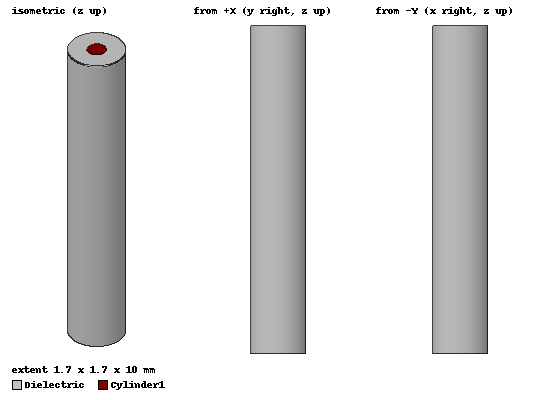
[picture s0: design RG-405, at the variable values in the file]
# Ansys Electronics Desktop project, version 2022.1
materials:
  vacuum: permittivity=1
  pec: conductivity=1e+30
  steel_stainless: conductivity=1100000
  glass_PTFEreinf: permittivity=2.5 dielectric_loss_tangent=0.002
  SmCo24: permittivity=1 permeability=1.0631382 conductivity=1111111 magnetic_coercivity{Magnitude=-756000A_per_meter DirComp1=1 DirComp2=0 DirComp3=0} lande_g_factor=2
  air: permittivity=1.0006 permeability=1.0000004
  copper: permeability=0.999991 conductivity=58000000
  aluminum: permeability=1.000021 conductivity=38000000

design RG-405 (HFSS, DrivenModal, model units mm)
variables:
  length = 10mm
  inner_d = 0.56mm
  dielectric_d = 1.7mm
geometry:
  Cylinder1 [pec] = cylinder(axis=Z, base_centre=(0mm, 0mm, 0mm), radius=inner_d/2, height=length)
  Dielectric [glass_PTFEreinf] = cylinder(axis=Z, base_centre=(0mm, 0mm, 0mm), radius=dielectric_d/2, height=length)
  Cylinder1_1 = Cylinder1.copy()
  Dielectric.subtract(Cylinder1_1)
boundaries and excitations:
  1: Wave Port Faces=Dielectric.face(3 of 3) NumModes=3 Modes{Mode1{CharImp=Zpi} Mode2{CharImp=Zpi} Mode3{CharImp=Zpi}}
  2: Wave Port Faces=Dielectric.face(2 of 3) NumModes=3 Modes{Mode1{CharImp=Zpi} Mode2{CharImp=Zpi} Mode3{CharImp=Zpi}}
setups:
  Setup1: HfssDriven Frequency=40GHz MaxDeltaS=0.005 MaximumPasses=20 MinimumPasses=1 MinimumConvergedPasses=1 PercentRefinement=30 BasisOrder=1 PortAccuracy=2 DrivenSolverType="Direct Solver"
    sweep Sweep: 0.2GHz to 80GHz, 400 points; Type=Interpolating SaveFields InterpTolerance=0.5 InterpMaxSolns=250 InterpUsePortImped=false PassivityErrorTolerance=0.0001
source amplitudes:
  1:1: 1W 0deg
  1:2, 1:3, 2:1, 2:2, 2:3: 0W 0deg
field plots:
  Vector_E1: E Field on Setup1 : LastAdaptive at Freq=40GHz Phase=0deg
  Mag_Jsurf1: Jsurf over Cylinder1.face(1 of 3) on Setup1 : LastAdaptive at Freq=40GHz Phase=0deg
  Mag_Jsurf2: Jsurf over Dielectric.face(1 of 3) on Setup1 : LastAdaptive at Freq=40GHz Phase=0deg
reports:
  Port Zo Plot 1: re(Zo(1:1)), im(Zo(1:1)) vs Freq on Setup1 : Sweep
  Gamma Plot 1: im(Gamma(2:1)), im(Gamma(2:2)), im(Gamma(2:3)) vs Freq on Setup1 : Sweep
